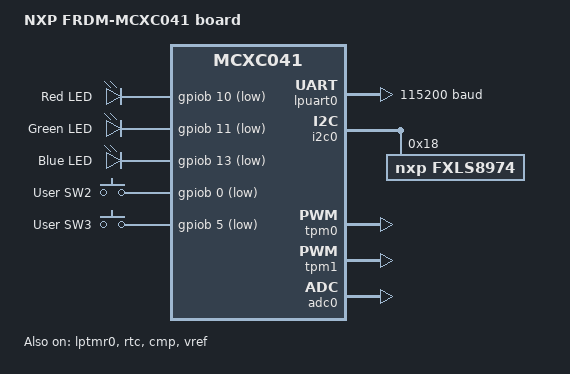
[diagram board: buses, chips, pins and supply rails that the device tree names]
/*
 * Copyright 2024-2025 NXP
 *
 * SPDX-License-Identifier: Apache-2.0
 */

/dts-v1/;

#include <nxp/mcx/nxp_mcxc041.dtsi>
#include "frdm_mcxc041-pinctrl.dtsi"
#include <zephyr/dt-bindings/input/input-event-codes.h>

/ {
	model = "NXP FRDM-MCXC041 board";
	compatible = "nxp,mcxc041", "nxp,mcx";

	aliases {
		led0 = &red_led;
		led1 = &green_led;
		led2 = &blue_led;
		pwm-led0 = &red_pwm_led;
		pwm-led1 = &green_pwm_led;
		pwm-led2 = &blue_pwm_led;
		red-pwm-led = &red_pwm_led;
		green-pwm-led = &green_pwm_led;
		blue-pwm-led = &blue_pwm_led;
		sw0 = &user_button_2;
		sw1 = &user_button_3;
		accel0 = &fxls8974;
		pwm-0 = &tpm1;
	};

	chosen {
		zephyr,sram = &sram0;
		zephyr,flash = &flash0;
		zephyr,console = &lpuart0;
		zephyr,shell-uart = &lpuart0;
	};

	leds {
		compatible = "gpio-leds";

		red_led: led_0 {
			gpios = <&gpiob 10 GPIO_ACTIVE_LOW>;
			label = "Red LED";
		};

		green_led: led_1 {
			gpios = <&gpiob 11 GPIO_ACTIVE_LOW>;
			label = "Green LED";
		};

		blue_led: led_2 {
			gpios = <&gpiob 13 GPIO_ACTIVE_LOW>;
			label = "Blue LED";
		};
	};

	pwmleds {
		compatible = "pwm-leds";
		status = "disabled";

		red_pwm_led: pwm_led_0 {
			pwms = <&tpm0 1 PWM_MSEC(20) PWM_POLARITY_INVERTED>;
			label = "PWM Red LED";
		};

		green_pwm_led: pwm_led_1 {
			pwms = <&tpm0 0 PWM_MSEC(20) PWM_POLARITY_INVERTED>;
			label = "PWM Green LED";
		};

		blue_pwm_led: pwm_led_2 {
			pwms = <&tpm1 1 PWM_MSEC(20) PWM_POLARITY_INVERTED>;
			label = "PWM Blue LED";
		};
	};

	gpio_keys {
		compatible = "gpio-keys";

		user_button_2: button_2 {
			label = "User SW2";
			gpios = <&gpiob 0 GPIO_ACTIVE_LOW>;
			zephyr,code = <INPUT_KEY_0>;
		};

		user_button_3: button_3 {
			label = "User SW3";
			gpios = <&gpiob 5 GPIO_ACTIVE_LOW>;
			zephyr,code = <INPUT_KEY_1>;
		};
	};
};

&sim {
	/*
	 * MCXC041 uses MCG-Lite and has no PLL. The binding requires
	 * pllfll-select to be set, but the SoC's clock_init() doesn't
	 * actually consume it for MCG-Lite parts. Use IRC48MHZ to reflect
	 * the fact that HIRC (48 MHz) is what the system actually runs on.
	 */
	pllfll-select = <KINETIS_SIM_PLLFLLSEL_IRC48MHZ>;
	er32k-select = <KINETIS_SIM_ER32KSEL_OSC32KCLK>;
};

&cpu0 {
	clock-frequency = <DT_FREQ_M(48)>;
};

&osc {
	clock-frequency = <32768>;
	mode = "low-power";
};

&gpioa {
	status = "okay";
};

&gpiob {
	status = "okay";
};

&lpuart0 {
	status = "okay";
	current-speed = <115200>;
	pinctrl-0 = <&pinmux_lpuart0>;
	pinctrl-names = "default";
};

i2c0: &i2c0 {
	status = "okay";
	pinctrl-0 = <&pinmux_i2c0>;
	pinctrl-names = "default";

	fxls8974: fxls8974@18 {
		status = "okay";
		compatible = "nxp,fxls8974";
		reg = <0x18>;
	};
};

&tpm0 {
	status = "okay";
	pinctrl-0 = <&pinmux_tpm0>;
	pinctrl-names = "default";
};

&tpm1 {
	status = "okay";
	pinctrl-0 = <&pinmux_tpm1>;
	pinctrl-names = "default";
};

&adc0 {
	status = "okay";
	pinctrl-0 = <&pinmux_adc0>;
	pinctrl-names = "default";
};

&lptmr0 {
	status = "okay";
};

&rtc {
	status = "okay";
};

&cmp {
	status = "okay";
	pinctrl-0 = <&pinmux_cmp>;
	pinctrl-names = "default";
};

&vref {
	status = "okay";
};
